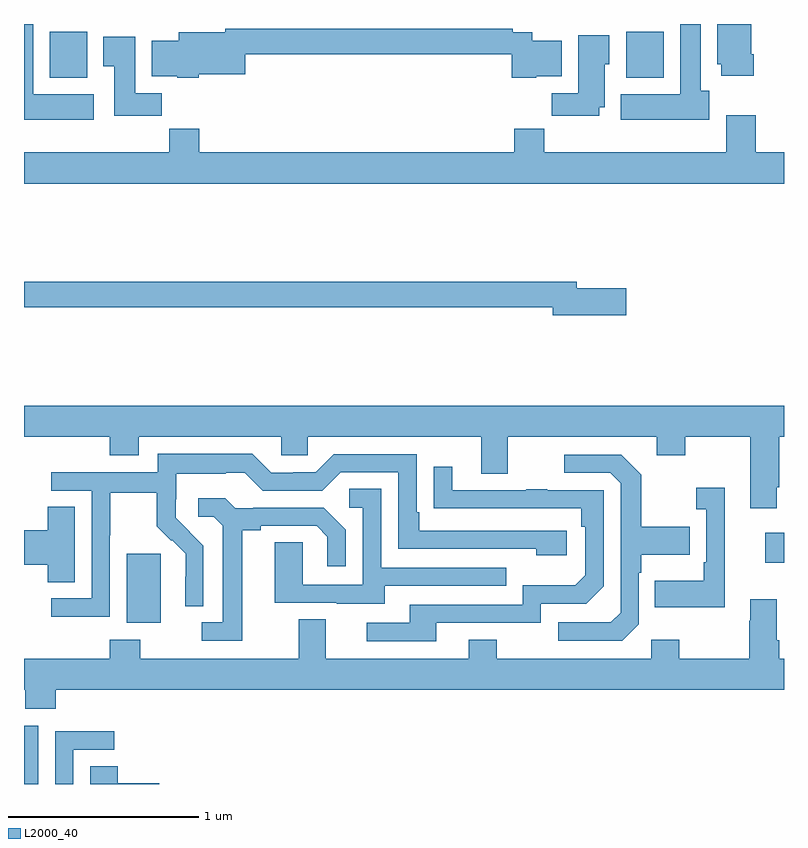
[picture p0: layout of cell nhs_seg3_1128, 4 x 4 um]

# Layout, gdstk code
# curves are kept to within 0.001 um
import gdstk
lib = gdstk.Library(unit=1e-6, precision=1e-09)
def R(c, l, rs):  # rectangles x0, y0, x1, y1
    for r in rs: c.add(gdstk.rectangle(r[:2], r[2:], *l))
def P(c, l, *ps):  # polygons
    for p in ps: c.add(gdstk.Polygon(p, *l))
L2000_40 = (2000, 40)

nhs_seg3_1128 = lib.new_cell('nhs_seg3_1128')
R(nhs_seg3_1128, L2000_40, [(169,720.4,169.075,720.706), (169.541,721.25,169.72,721.611), (172.902,721.565,173,721.723), (169.136,724.118,169.333,724.36), (172.169,724.118,172.366,724.36)])
P(nhs_seg3_1128, L2000_40, [(172.841,724.24),(172.828,724.24),(172.828,724.4),(172.649,724.4),(172.649,724.188),(172.67,724.188),(172.67,724.128),(172.841,724.128)],
  [(169.366,724.03),(169.048,724.03),(169.048,724.4),(169,724.4),(169,723.896),(169.366,723.896)],
  [(172.606,724.05),(172.561,724.05),(172.561,724.4),(172.454,724.4),(172.454,724.03),(172.142,724.03),(172.142,723.896),(172.606,723.896)],
  [(169.92,724.136),(170.164,724.136),(170.164,724.24),(171.567,724.24),(171.567,724.118),(171.696,724.118),(171.696,724.124),(171.829,724.124),(171.829,724.312),(171.675,724.312),(171.675,724.356),(171.572,724.356),(171.572,724.376),(170.06,724.376),(170.06,724.357),(169.814,724.357),(169.814,724.312),(169.673,724.312),(169.673,724.124),(169.806,724.124),(169.806,724.118),(169.92,724.118)],
  [(172.027,723.962),(172.057,723.962),(172.057,724.188),(172.081,724.188),(172.081,724.342),(171.917,724.342),(171.917,724.036),(171.778,724.036),(171.778,723.918),(172.027,723.918)],
  [(169.724,724.036),(169.585,724.036),(169.585,724.333),(169.418,724.333),(169.418,724.177),(169.475,724.177),(169.475,723.918),(169.724,723.918)],
  [(173,723.724),(172.85,723.724),(172.85,723.919),(172.697,723.919),(172.697,723.724),(171.737,723.724),(171.737,723.848),(171.581,723.848),(171.581,723.724),(169.922,723.724),(169.922,723.848),(169.765,723.848),(169.765,723.724),(169,723.724),(169,723.56),(173,723.56)],
  [(172.171,723.008),(171.91,723.008),(171.91,723.044),(169,723.044),(169,722.908),(171.782,722.908),(171.782,722.866),(172.171,722.866)],
  [(172.963,721.963),(172.976,721.963),(172.976,722.228),(173,722.228),(173,722.392),(169,722.392),(169,722.228),(169.451,722.228),(169.451,722.129),(169.603,722.129),(169.603,722.228),(170.355,722.228),(170.355,722.13),(170.493,722.13),(170.493,722.228),(171.407,722.228),(171.407,722.034),(171.547,722.034),(171.547,722.228),(172.331,722.228),(172.331,722.129),(172.479,722.129),(172.479,722.228),(172.823,722.228),(172.823,721.851),(172.963,721.851)],
  [(169.452,721.708),(169.455,721.708),(169.455,721.932),(169.699,721.932),(169.699,721.757),(169.776,721.68),(169.779,721.683),(169.85,721.613),(169.85,721.49),(169.848,721.49),(169.848,721.336),(169.944,721.336),(169.944,721.654),(169.798,721.802),(169.798,721.899),(169.8,721.899),(169.8,722.033),(170.063,722.033),(170.063,722.037),(170.163,722.037),(170.256,721.944),(170.571,721.944),(170.667,722.04),(170.97,722.04),(170.97,721.638),(171.695,721.638),(171.695,721.604),(171.856,721.604),(171.856,721.734),(171.079,721.734),(171.079,721.831),(171.066,721.831),(171.066,722.136),(170.631,722.136),(170.535,722.04),(170.417,722.04),(170.417,722.037),(170.301,722.037),(170.201,722.137),(169.704,722.137),(169.704,722.04),(169.143,722.04),(169.143,721.944),(169.356,721.944),(169.356,721.377),(169.143,721.377),(169.143,721.279),(169.452,721.279)],
  [(172.236,721.242),(172.236,721.511),(172.249,721.511),(172.249,721.607),(172.505,721.607),(172.505,721.755),(172.249,721.755),(172.249,722.027),(172.143,722.133),(171.843,722.133),(171.843,722.037),(172.086,722.037),(172.14,721.983),(172.14,721.302),(172.089,721.251),(171.813,721.251),(171.813,721.155),(172.149,721.155)],
  [(171.169,721.248),(171.72,721.248),(171.72,721.35),(171.96,721.35),(172.05,721.44),(172.05,721.947),(171.755,721.947),(171.755,721.952),(171.643,721.952),(171.643,721.947),(171.253,721.947),(171.253,722.071),(171.157,722.071),(171.157,721.852),(171.934,721.851),(171.934,721.754),(171.954,721.754),(171.954,721.5),(171.901,721.447),(171.624,721.447),(171.624,721.344),(171.029,721.344),(171.029,721.248),(170.805,721.248),(170.805,721.152),(171.169,721.152)],
  [(172.688,721.96),(172.539,721.96),(172.539,721.847),(172.59,721.847),(172.59,721.567),(172.578,721.567),(172.578,721.471),(172.321,721.471),(172.321,721.331),(172.688,721.331)],
  [(170.899,721.443),(171.539,721.443),(171.539,721.539),(170.88,721.539),(170.88,721.955),(170.712,721.955),(170.712,721.854),(170.784,721.854),(170.784,721.449),(170.466,721.449),(170.466,721.673),(170.321,721.673),(170.321,721.353),(170.645,721.353),(170.645,721.349),(170.899,721.349)],
  [(170.149,721.736),(170.245,721.736),(170.245,721.758),(170.54,721.758),(170.597,721.701),(170.597,721.545),(170.694,721.545),(170.694,721.738),(170.578,721.854),(170.206,721.854),(170.206,721.851),(170.112,721.851),(170.06,721.903),(169.917,721.903),(169.917,721.806),(169.998,721.806),(170.045,721.759),(170.045,721.251),(169.935,721.251),(169.935,721.155),(170.149,721.155)],
  [(169.267,721.859),(169.124,721.859),(169.124,721.736),(169,721.736),(169,721.553),(169.124,721.553),(169.124,721.462),(169.267,721.462)],
  [(169.166,720.896),(173,720.896),(173,721.06),(172.976,721.06),(172.976,721.156),(172.963,721.156),(172.963,721.372),(172.823,721.372),(172.823,721.259),(172.816,721.259),(172.816,721.06),(172.449,721.06),(172.449,721.159),(172.302,721.159),(172.302,721.06),(171.489,721.06),(171.489,721.159),(171.341,721.159),(171.341,721.06),(170.587,721.06),(170.587,721.268),(170.447,721.268),(170.447,721.06),(169.611,721.06),(169.611,721.159),(169.451,721.159),(169.451,721.06),(169,721.06),(169,720.896),(169.006,720.896),(169.006,720.797),(169.166,720.797)],
  [(169.26,720.579),(169.474,720.579),(169.474,720.678),(169.164,720.678),(169.164,720.4),(169.26,720.4)],
  [(169.711,720.404),(169.493,720.404),(169.493,720.494),(169.349,720.494),(169.349,720.4),(169.711,720.4)])

lib.write_gds('nhs_seg3_1128.gds')
